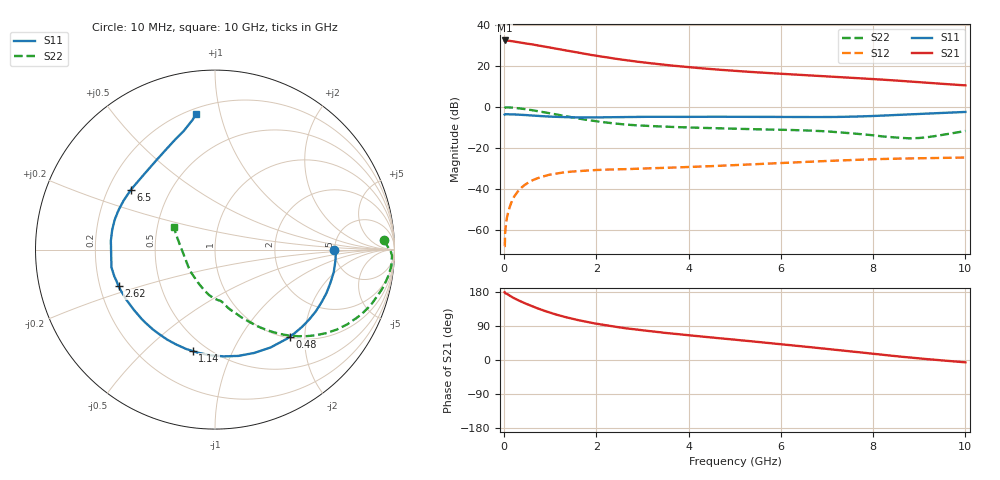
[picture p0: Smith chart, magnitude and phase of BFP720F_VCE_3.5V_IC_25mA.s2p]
! Infineon Technologies  Discrete & RF Semiconductors
! BFP720F
! VCE =  3.5 V,  IC =  25 mA
! Common Emitter S-Parameters:  Jan 2016
# GHz  S  MA  R  50
!  f  S11  S21  S12  S22
! GHz  MAG  ANG  MAG  ANG  MAG  ANG  MAG  ANG
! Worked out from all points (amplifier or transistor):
!   233 points, 10 MHz to 10 GHz, reference 50 ohm
!   highest |S21| = 32.6 dB at 10 MHz (marker M1)
!   |S21| within 3 dB of that: start of sweep to 879 MHz
!   unconditionally stable (mu >= 1): start of sweep to 16.39 MHz; 5.087 GHz to end of sweep
!   at 200 MHz: K = 0.14, MSG = 38.3 dB, |S12| = -44.4 dB
!   at 1.74 GHz: K = 0.49, MSG = 28.6 dB, |S12| = -31.0 dB
!   at 10 GHz: K = 1.16, MAG = 15.2 dB, |S12| = -24.6 dB
!   S11 on the Smith chart (normalised r, x): 10 MHz: 4.92, -0.04; 480 MHz: 1.03, -1.69; 1.14 GHz: 0.42, -0.71; 2.62 GHz: 0.28, -0.17; 6.5 GHz: 0.30, +0.30; 10 GHz: 0.23, +0.85
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0.01  0.6621 -0.2  42.73 178.8  0.0004 -4.0  0.9428 3.1
0.02  0.674 -1.7  42.6 176.4  0.0008 96.3  0.9796 -0.6
0.05  0.6739 -5.2  42.54 175.3  0.0017 88.4  0.9868 -2.0
0.1  0.6734 -10.7  42.1 171.4  0.003 82.7  0.9867 -5.2
0.24  0.6626 -25.5  39.81 161.6  0.0071 77.4  0.9587 -12.8
0.36  0.6522 -37.6  37.88 154.6  0.0104 72.1  0.9255 -18.8
0.48  0.6397 -49.2  36.08 148.2  0.0133 67.2  0.888 -24.2
0.6  0.627 -60.5  34.4 142.1  0.016 62.4  0.8462 -29.5
0.8  0.6064 -77.6  31.42 132.9  0.0196 55.6  0.775 -36.9
1  0.5891 -92.9  28.56 124.6  0.0225 49.8  0.7032 -43.3
1.14  0.5788 -102.4  26.7 119.6  0.024 46.4  0.657 -47.1
1.4  0.5679 -118.0  23.59 111.0  0.0262 41.2  0.5802 -53.4
1.68  0.5623 -131.7  20.74 103.3  0.0278 37.2  0.5112 -59.0
2.06  0.5637 -145.5  17.61 94.5  0.0293 33.4  0.4426 -64.9
2.62  0.5747 -159.2  14.18 84.0  0.0305 30.5  0.3776 -71.4
3.4  0.584 -169.3  11.09 72.9  0.0326 29.7  0.3368 -76.8
4  0.5823 175.2  9.479 65.2  0.0344 29.7  0.3183 -78.9
5.1  0.5822 162.3  7.582 52.4  0.0388 29.8  0.2951 -82.2
6.5  0.5751 144.4  6.09 35.5  0.0458 27.8  0.2716 -91.3
6.8  0.5731 139.7  5.819 31.8  0.0474 26.9  0.262 -94.7
8.4  0.6366 112.7  4.553 11.3  0.0548 20.3  0.1846 -135.6
10  0.7643 97.8  3.408 -6.2  0.0587 14.1  0.2617 151.5
